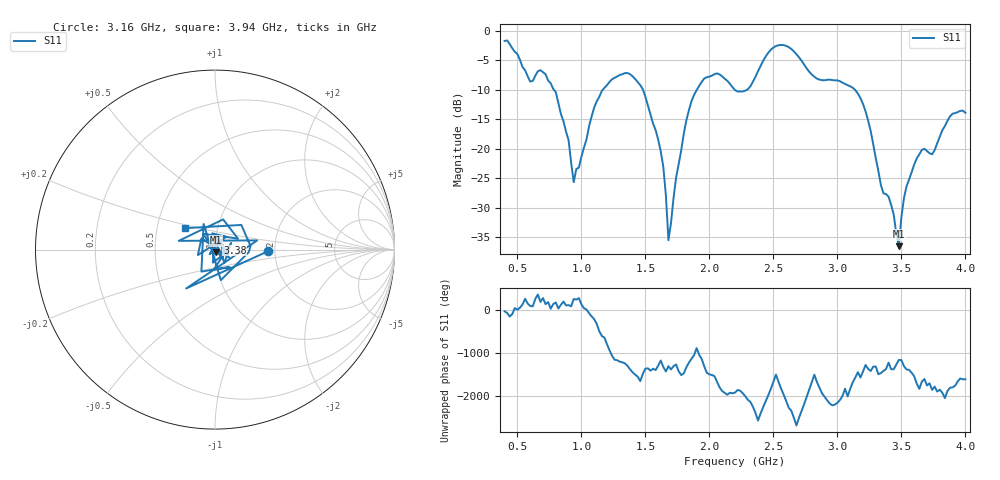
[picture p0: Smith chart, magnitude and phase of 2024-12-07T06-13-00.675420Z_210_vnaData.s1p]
!Created with skrf (http://scikit-rf.org).
# Hz S RI R 50.0
!freq ReS11 ImS11
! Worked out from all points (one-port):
!   181 points, 400 MHz to 4 GHz, reference 50 ohm
!   lowest |S11| = -36.5 dB at 3.48 GHz (marker M1), VSWR 1.03, Z = 50.3 - j1.47 ohm
!   |S11| at or under -10 dB: 786.4 MHz to 1.166 GHz (379.3 MHz wide, 38.9 % of centre); 1.482 GHz to 1.901 GHz (419.1 MHz wide, 24.8 % of centre); 3.139 GHz to end of sweep (the widest 3 of 4)
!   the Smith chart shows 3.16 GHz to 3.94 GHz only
!   S11 on the Smith chart (normalised r, x): 3.16 GHz: 1.83, -0.04; 3.38 GHz: 1.02, +0.08; 3.94 GHz: 0.70, +0.17
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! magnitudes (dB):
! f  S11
! 400 MHz  -1.7
! 600 MHz  -8.6
! 720 MHz  -7.3
! 860 MHz  -15.3
! 940 MHz  -25.6
! 1.12 GHz  -11.9
! 1.3 GHz  -7.5
! 1.46 GHz  -9.2
! 1.58 GHz  -16.8
! 1.64 GHz  -23.1
! 1.68 GHz  -35.5
! 1.76 GHz  -22.6
! 1.86 GHz  -11.9
! 1.96 GHz  -8.1
! 2.2 GHz  -10.0
! 2.3 GHz  -9.9
! 2.5 GHz  -2.8
! 2.66 GHz  -3.5
! 2.84 GHz  -8.1
! 3.1 GHz  -9.4
! 3.16 GHz  -10.6
! 3.38 GHz  -27.7
! 3.48 GHz  -36.5
! 3.52 GHz  -28.3
! 3.56 GHz  -25.2
! 3.66 GHz  -20.2
! 3.94 GHz  -13.8
! 4 GHz  -13.9
